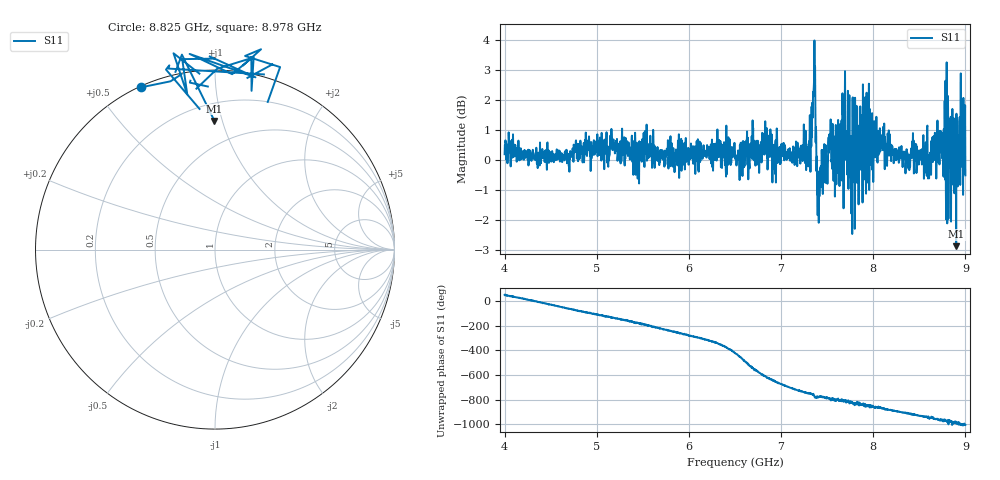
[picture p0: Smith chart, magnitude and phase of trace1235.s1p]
! Created with skrf 1.8.0 (http://scikit-rf.org).
# Hz S RI R 50.0
!freq ReS11 ImS11
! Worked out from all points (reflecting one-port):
!   1601 points, 4 GHz to 9 GHz, reference 50 ohm
!   lowest |S11| = -2.9 dB at 8.9 GHz (marker M1), VSWR 6.07, Z = 16 + j47.2 ohm
!   phase of S11 starts at 49 deg and turns -1054 deg over the sweep
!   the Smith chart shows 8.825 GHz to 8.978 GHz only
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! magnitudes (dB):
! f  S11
! 4 GHz  0.2
! 4.625 GHz  -0.1
! 5.25 GHz  0.2
! 5.875 GHz  -0.2
! 6.5 GHz  0.3
! 6.747 GHz  0.6
! 6.819 GHz  0.2
! 6.922 GHz  -0.2
! 7.125 GHz  0.2
! 7.294 GHz  -0.2
! 7.356 GHz  2.5
! 7.409 GHz  -2.1
! 7.538 GHz  1.3
! 7.609 GHz  0.2
! 7.669 GHz  1.5
! 7.75 GHz  0.2
! 7.775 GHz  2.0
! 7.8 GHz  -2.3
! 7.9 GHz  0.6
! 7.928 GHz  2.2
! 8.375 GHz  0.1
! 8.441 GHz  -0.5
! 8.603 GHz  -0.1
! 8.788 GHz  -1.0
! 8.841 GHz  1.4
! 8.9 GHz  -2.9
! 8.972 GHz  0.7
! 9 GHz  -0.5
